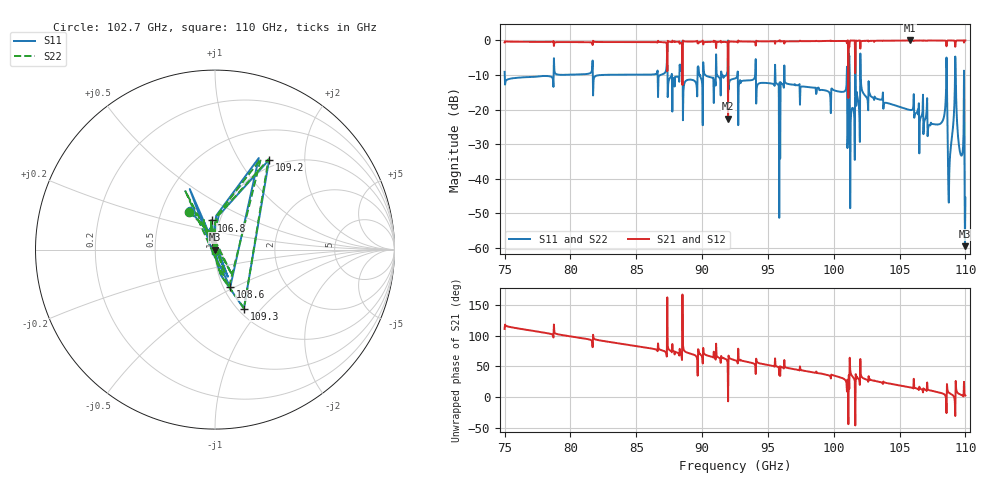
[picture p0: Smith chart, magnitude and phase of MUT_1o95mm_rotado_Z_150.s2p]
! TOUCHSTONE file generated by CST MICROWAVE STUDIO
! Date and time: Fri Feb 16 12:03:53 2024
! Project name: material_rotado.cst
! Parameters = {angX=1.5; angY=0.75}
! Header version: 2018
! Port assignment regex: !\s*Touchstone port\s*([0-9]+)\s*=\s*(CST MWS port|CST DS port)\s*([0-9]+|Zmin|Zmax)\s*\(\"(.*)\"\)(\s*mode\s*([0-9]+))?.*
! Touchstone port assignment:
! Touchstone port 1 = CST MWS port 1 ("")
! Touchstone port 2 = CST MWS port 2 ("")
# GHz S MA R 376.7
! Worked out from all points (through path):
!   1001 points, 75 GHz to 110 GHz, reference 376.7 ohm
!   highest |S21| = 0.00 dB at 105.8 GHz (marker M1); lowest = -22.6 dB at 91.97 GHz (marker M2)
!   lowest |S11| = -59.6 dB at 110 GHz (marker M3), VSWR 1.00, Z = 377 + j0.266 ohm
!   |S11| at or under -10 dB: 75.01 GHz to 78.72 GHz (3.716 GHz wide, 4.83 % of centre); 96.27 GHz to 101 GHz (4.723 GHz wide, 4.79 % of centre); 102 GHz to 108.5 GHz (6.497 GHz wide, 6.17 % of centre)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
!   |S22| runs from -59.5 to 0.0 dB; largest |S21 - S12| = 1.6e-06
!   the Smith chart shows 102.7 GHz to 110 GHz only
!   S11 on the Smith chart (normalised r, x): 102.7 GHz: 0.69, +0.32; 106.8 GHz: 0.91, +0.31; 108.6 GHz: 1.08, -0.47; 109.2 GHz: 0.89, +1.36; 109.3 GHz: 1.07, -0.81; 110 GHz: 1.00, -0.01
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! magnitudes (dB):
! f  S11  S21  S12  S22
! 75 GHz  -9.1  -0.6  -0.6  -9.1
! 80.84 GHz  -9.8  -0.5  -0.5  -9.8
! 86.69 GHz  -10.7  -0.4  -0.4  -10.7
! 91.97 GHz  0.0  -22.6  -22.6  0.0
! 92.5 GHz  -11.0  -0.4  -0.4  -11.0
! 95.65 GHz  -12.5  -0.3  -0.3  -12.5
! 95.75 GHz  -12.7  -0.2  -0.2  -12.7
! 98.34 GHz  -13.6  -0.2  -0.2  -13.6
! 101 GHz  -31.2  0.0  0.0  -31.2
! 101.4 GHz  -19.5  0.0  0.0  -19.5
! 102.2 GHz  -14.9  -0.1  -0.1  -14.9
! 102.7 GHz  -11.8  -0.3  -0.3  -11.8
! 104.2 GHz  -18.2  -0.1  -0.1  -18.2
! 105.8 GHz  -20.1  0.0  0.0  -20.2
! 106.8 GHz  -15.7  -0.1  -0.1  -15.7
! 108.5 GHz  -19.8  0.0  0.0  -19.8
! 108.6 GHz  -12.9  -0.2  -0.2  -12.9
! 108.8 GHz  -32.9  0.0  0.0  -32.9
! 109.2 GHz  -4.7  -1.8  -1.8  -4.7
! 109.3 GHz  -8.7  -0.6  -0.6  -8.7
! 110 GHz  -59.6  0.0  0.0  -59.5
! 110 GHz  -45.5  0.0  0.0  -45.5
